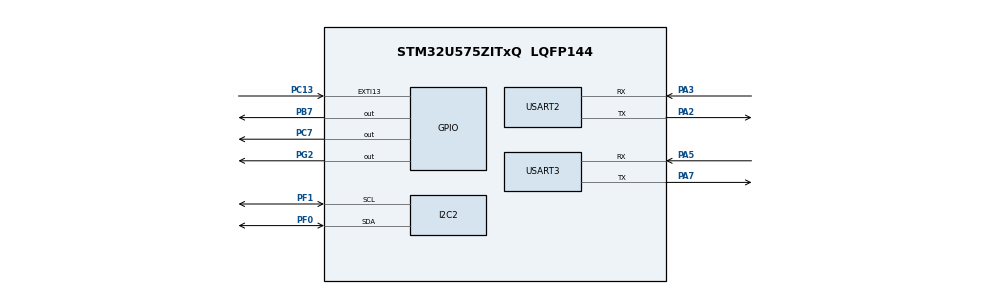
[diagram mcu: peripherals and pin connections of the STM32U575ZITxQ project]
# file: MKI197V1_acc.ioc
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CORTEX_M33_NS.userName=CORTEX_M33
I2C2.Timing=0x00000E14
Mcu.Family=STM32U5
Mcu.Name=STM32U575ZITxQ
Mcu.Package=LQFP144
NUCLEO-U575ZI-Q.BUTTON=1
NUCLEO-U575ZI-Q.LD1=true
NUCLEO-U575ZI-Q.LD2=true
NUCLEO-U575ZI-Q.LD3=true
NUCLEO-U575ZI-Q.VCP=true
NVIC.EXTI13_IRQn=true\:0\:0\:false\:false\:true\:false\:true\:true
NVIC.PriorityGroup=NVIC_PRIORITYGROUP_3
NVIC.TIM17_IRQn=true\:7\:0\:false\:false\:true\:false\:true\:true
NVIC.TimeBase=TIM17_IRQn
NVIC.TimeBaseIP=TIM17
PA10.Signal=USART1_RX
PA13\ (JTMS/SWDIO).Signal=DEBUG_JTMS-SWDIO
PA14\ (JTCK/SWCLK).Signal=DEBUG_JTCK-SWCLK
PA2.Mode=Asynchronous
PA2.Signal=USART2_TX
PA3.Mode=Asynchronous
PA3.Signal=USART2_RX
PA5.Mode=Asynchronous
PA5.Signal=USART3_RX
PA7.Mode=Asynchronous
PA7.Signal=USART3_TX
PA9.Signal=USART1_TX
PB3\ (JTDO/TRACESWO).Signal=DEBUG_JTDO-SWO
PB7.Signal=GPIO_Output
PC13.Signal=GPXTI13
PC14-OSC32_IN\ (PC14).Signal=RCC_OSC32_IN
PC15-OSC32_OUT\ (PC15).Signal=RCC_OSC32_OUT
PC7.Signal=GPIO_Output
PF0.Mode=I2C
PF0.Signal=I2C2_SDA
PF1.Mode=I2C
PF1.Signal=I2C2_SCL
PG2.Signal=GPIO_Output
PWR.PowerMode=PWR_SMPS_SUPPLY
ProjectManager.HeapSize=0x200
ProjectManager.StackSize=0x400
ProjectManager.TargetToolchain=STM32CubeIDE
RCC.ADCFreq_Value=16000000
RCC.DACCLockSelectionVirtual=RCC_DAC1CLKSOURCE_LSI
RCC.EPOD_VALUE=4000000
RCC.HSE_VALUE=16000000
RCC.HSI48_VALUE=48000000
RCC.HSI_VALUE=16000000
RCC.LSE_VALUE=32768
RCC.LSIDIV_VALUE=32000
RCC.MSI_VALUE=4000000
RCC.USBFreq_Value=48000000
RCC.VCOOutputFreq_Value=516000000
USART2.VirtualMode-Asynchronous=VM_ASYNC
USART3.VirtualMode-Asynchronous=VM_ASYNC
VP_ICACHE_VS_ENABLE_ICACHE_MEMORY.Mode=Memoryregions
VP_ICACHE_VS_ICACHE.Mode=DirectMappedCache
VP_LPBAMQUEUE_VS_QUEUE.Mode=QUEUEMODE
VP_LPBAM_VS_SIG1.Mode=SmartRun
VP_LPBAM_VS_SIG4.Mode=LPDMA1
VP_MEMORYMAP_VS_MEMORYMAP.Mode=CurAppReg
VP_NUCLEO-U575ZI-Q_VS_BSP_COMMON.Mode=COMMON
VP_PWR_VS_DBSignals.Mode=DisableDeadBatterySignals
VP_PWR_VS_LPOM.Mode=PowerOptimisation
VP_PWR_VS_SECSignals.Mode=Security/Privilege
VP_SYS_VS_tim17.Mode=TIM17
board=NUCLEO-U575ZI-Q

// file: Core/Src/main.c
/* USER CODE BEGIN Header */
/**
  ******************************************************************************
  * @file           : main.c
  * @brief          : Main program body
  ******************************************************************************
  * @attention
  *
  * Copyright (c) 2025 STMicroelectronics.
  * All rights reserved.
  *
  * This software is licensed under terms that can be found in the LICENSE file
  * in the root directory of this software component.
  * If no LICENSE file comes with this software, it is provided AS-IS.
  *
  ******************************************************************************
  */
/* USER CODE END Header */
#include "main.h"

/* USER CODE BEGIN Includes */
#include "lsm6dsox.h"
#include "pitch_utils.h"
#include "angle.h"
#include "motion_analysis.h"
#include "uart_comm.h"

/* USER CODE END Includes */

COM_InitTypeDef BspCOMInit;

I2C_HandleTypeDef hi2c2;

UART_HandleTypeDef huart2;
UART_HandleTypeDef huart3;

void SystemClock_Config(void);
static void SystemPower_Config(void);
static void MX_GPIO_Init(void);
static void MX_ICACHE_Init(void);
static void MX_I2C2_Init(void);
static void MX_USART2_UART_Init(void);
static void MX_USART3_UART_Init(void);
/* USER CODE BEGIN PFP */
#define DEMCR *((volatile uint32_t*) 0xE000EDFCu)
#define ITM_TCR     (*(volatile uint32_t*)0xE0000E80)
#define ITM_TER     (*(volatile uint32_t*)0xE0000E00)

void Enable_ITM_Trace(void) {
    DEMCR |= (1 << 24);    // TRCENA: enable trace and debug
    ITM_TCR |= 1;          // ITM enable
    ITM_TER |= 1;          // Stimulus port 0 enable
}

/* USER CODE END PFP */

/* USER CODE BEGIN 0 */

void scan_i2c_bus(I2C_HandleTypeDef *hi2c) {
    printf("Scanning I2C bus...\r\n");
    for (uint8_t addr = 0; addr < 128; addr++) {
        if (HAL_I2C_IsDeviceReady(hi2c, addr << 1, 1, 10) == HAL_OK) {
            printf("Found device at 0x%02X\r\n", addr);
        }
    }
}

// für UART Ausgabe
//int _write(int file, char *ptr, int len)
//{
//  for (int i = 0; i < len; i++)
//  {
//    ITM_SendChar((uint32_t)*ptr++);
//  }
//  return len;
//}

/* Debug Exception and Monitor Control Register base address */
/* ITM register addresses */
#define ITM_STIMULUS_PORT0 *((volatile uint32_t*) 0xE0000000u)
#define ITM_TRACE_EN *((volatile uint32_t*) 0xE0000E00u)
/* Send a char through ITM */

/* USER CODE END 0 */

int main(void)
{

  /* MCU Configuration--------------------------------------------------------*/

  /* Reset of all peripherals, Initializes the Flash interface and the Systick. */
  HAL_Init();

  /* Configure the System Power */
  SystemPower_Config();

  /* Configure the system clock */
  SystemClock_Config();

  /* Initialize all configured peripherals */
  MX_GPIO_Init();
  MX_ICACHE_Init();
  MX_I2C2_Init();
  MX_USART2_UART_Init();
  MX_USART3_UART_Init();
  /* USER CODE BEGIN 2 */
  //Enable_ITM_Trace();
  // <--- WICHTIG!

  /* USER CODE END 2 */

  /* Initialize leds */
  BSP_LED_Init(LED_GREEN);
  BSP_LED_Init(LED_BLUE);
  BSP_LED_Init(LED_RED);

  /* Initialize USER push-button, will be used to trigger an interrupt each time it's pressed.*/
  BSP_PB_Init(BUTTON_USER, BUTTON_MODE_EXTI);

  /* Initialize COM1 port (115200, 8 bits (7-bit data + 1 stop bit), no parity */
  BspCOMInit.BaudRate   = 115200;
  BspCOMInit.WordLength = COM_WORDLENGTH_8B;
  BspCOMInit.StopBits   = COM_STOPBITS_1;
  BspCOMInit.Parity     = COM_PARITY_NONE;
  BspCOMInit.HwFlowCtl  = COM_HWCONTROL_NONE;
  if (BSP_COM_Init(COM1, &BspCOMInit) != BSP_ERROR_NONE)
  {
    Error_Handler();
  }

  /* Infinite loop */
  /* USER CODE BEGIN WHILE */

  HAL_Delay(1000);
  float base_pitch = Get_Base_Pitch(&hi2c2);
  printf("Basiswinkel gesetzt (gemittelt): %.2f\r\n", base_pitch);

  LSM6DSOX_Init(&hi2c2);
  while (1)
  {

	    Motion_Process(&hi2c2, base_pitch);
	    UART_Comm_Process(&huart3);
	    HAL_Delay(100);
    /* USER CODE END WHILE */

  }
}

void SystemClock_Config(void)
{
  RCC_OscInitTypeDef RCC_OscInitStruct = {0};
  RCC_ClkInitTypeDef RCC_ClkInitStruct = {0};

  /** Configure the main internal regulator output voltage
  */
  if (HAL_PWREx_ControlVoltageScaling(PWR_REGULATOR_VOLTAGE_SCALE4) != HAL_OK)
  {
    Error_Handler();
  }

  /** Initializes the CPU, AHB and APB buses clocks
  */
  RCC_OscInitStruct.OscillatorType = RCC_OSCILLATORTYPE_MSI;
  RCC_OscInitStruct.MSIState = RCC_MSI_ON;
  RCC_OscInitStruct.MSICalibrationValue = RCC_MSICALIBRATION_DEFAULT;
  RCC_OscInitStruct.MSIClockRange = RCC_MSIRANGE_4;
  RCC_OscInitStruct.PLL.PLLState = RCC_PLL_NONE;
  if (HAL_RCC_OscConfig(&RCC_OscInitStruct) != HAL_OK)
  {
    Error_Handler();
  }

  /** Initializes the CPU, AHB and APB buses clocks
  */
  RCC_ClkInitStruct.ClockType = RCC_CLOCKTYPE_HCLK|RCC_CLOCKTYPE_SYSCLK
                              |RCC_CLOCKTYPE_PCLK1|RCC_CLOCKTYPE_PCLK2
                              |RCC_CLOCKTYPE_PCLK3;
  RCC_ClkInitStruct.SYSCLKSource = RCC_SYSCLKSOURCE_MSI;
  RCC_ClkInitStruct.AHBCLKDivider = RCC_SYSCLK_DIV1;
  RCC_ClkInitStruct.APB1CLKDivider = RCC_HCLK_DIV1;
  RCC_ClkInitStruct.APB2CLKDivider = RCC_HCLK_DIV1;
  RCC_ClkInitStruct.APB3CLKDivider = RCC_HCLK_DIV1;

  if (HAL_RCC_ClockConfig(&RCC_ClkInitStruct, FLASH_LATENCY_0) != HAL_OK)
  {
    Error_Handler();
  }
}

/**
  * @brief Power Configuration
  * @retval None
  */
static void SystemPower_Config(void)
{

  /*
   * Disable the internal Pull-Up in Dead Battery pins of UCPD peripheral
   */
  HAL_PWREx_DisableUCPDDeadBattery();

  /*
   * Switch to SMPS regulator instead of LDO
   */
  if (HAL_PWREx_ConfigSupply(PWR_SMPS_SUPPLY) != HAL_OK)
  {
    Error_Handler();
  }
}

static void MX_I2C2_Init(void)
{

  hi2c2.Instance = I2C2;
  hi2c2.Init.Timing = 0x00000E14;
  hi2c2.Init.OwnAddress1 = 0;
  hi2c2.Init.AddressingMode = I2C_ADDRESSINGMODE_7BIT;
  hi2c2.Init.DualAddressMode = I2C_DUALADDRESS_DISABLE;
  hi2c2.Init.OwnAddress2 = 0;
  hi2c2.Init.OwnAddress2Masks = I2C_OA2_NOMASK;
  hi2c2.Init.GeneralCallMode = I2C_GENERALCALL_DISABLE;
  hi2c2.Init.NoStretchMode = I2C_NOSTRETCH_DISABLE;
  if (HAL_I2C_Init(&hi2c2) != HAL_OK)
  {
    Error_Handler();
  }

  /** Configure Analogue filter
  */
  if (HAL_I2CEx_ConfigAnalogFilter(&hi2c2, I2C_ANALOGFILTER_ENABLE) != HAL_OK)
  {
    Error_Handler();
  }

  /** Configure Digital filter
  */
  if (HAL_I2CEx_ConfigDigitalFilter(&hi2c2, 0) != HAL_OK)
  {
    Error_Handler();
  }

}

static void MX_ICACHE_Init(void)
{

  /** Enable instruction cache in 1-way (direct mapped cache)
  */
  if (HAL_ICACHE_ConfigAssociativityMode(ICACHE_1WAY) != HAL_OK)
  {
    Error_Handler();
  }
  if (HAL_ICACHE_Enable() != HAL_OK)
  {
    Error_Handler();
  }

}

static void MX_USART2_UART_Init(void)
{

  huart2.Instance = USART2;
  huart2.Init.BaudRate = 115200;
  huart2.Init.WordLength = UART_WORDLENGTH_8B;
  huart2.Init.StopBits = UART_STOPBITS_1;
  huart2.Init.Parity = UART_PARITY_NONE;
  huart2.Init.Mode = UART_MODE_TX_RX;
  huart2.Init.HwFlowCtl = UART_HWCONTROL_NONE;
  huart2.Init.OverSampling = UART_OVERSAMPLING_16;
  huart2.Init.OneBitSampling = UART_ONE_BIT_SAMPLE_DISABLE;
  huart2.Init.ClockPrescaler = UART_PRESCALER_DIV1;
  huart2.AdvancedInit.AdvFeatureInit = UART_ADVFEATURE_NO_INIT;
  if (HAL_UART_Init(&huart2) != HAL_OK)
  {
    Error_Handler();
  }
  if (HAL_UARTEx_SetTxFifoThreshold(&huart2, UART_TXFIFO_THRESHOLD_1_8) != HAL_OK)
  {
    Error_Handler();
  }
  if (HAL_UARTEx_SetRxFifoThreshold(&huart2, UART_RXFIFO_THRESHOLD_1_8) != HAL_OK)
  {
    Error_Handler();
  }
  if (HAL_UARTEx_DisableFifoMode(&huart2) != HAL_OK)
  {
    Error_Handler();
  }

}

static void MX_USART3_UART_Init(void)
{

  huart3.Instance = USART3;
  huart3.Init.BaudRate = 115200;
  huart3.Init.WordLength = UART_WORDLENGTH_8B;
  huart3.Init.StopBits = UART_STOPBITS_1;
  huart3.Init.Parity = UART_PARITY_NONE;
  huart3.Init.Mode = UART_MODE_TX_RX;
  huart3.Init.HwFlowCtl = UART_HWCONTROL_NONE;
  huart3.Init.OverSampling = UART_OVERSAMPLING_16;
  huart3.Init.OneBitSampling = UART_ONE_BIT_SAMPLE_DISABLE;
  huart3.Init.ClockPrescaler = UART_PRESCALER_DIV1;
  huart3.AdvancedInit.AdvFeatureInit = UART_ADVFEATURE_NO_INIT;
  if (HAL_UART_Init(&huart3) != HAL_OK)
  {
    Error_Handler();
  }
  if (HAL_UARTEx_SetTxFifoThreshold(&huart3, UART_TXFIFO_THRESHOLD_1_8) != HAL_OK)
  {
    Error_Handler();
  }
  if (HAL_UARTEx_SetRxFifoThreshold(&huart3, UART_RXFIFO_THRESHOLD_1_8) != HAL_OK)
  {
    Error_Handler();
  }
  if (HAL_UARTEx_DisableFifoMode(&huart3) != HAL_OK)
  {
    Error_Handler();
  }

}

static void MX_GPIO_Init(void)
{

  /* GPIO Ports Clock Enable */
  __HAL_RCC_GPIOC_CLK_ENABLE();
  __HAL_RCC_GPIOF_CLK_ENABLE();
  __HAL_RCC_GPIOA_CLK_ENABLE();
  __HAL_RCC_GPIOB_CLK_ENABLE();

}

void HAL_TIM_PeriodElapsedCallback(TIM_HandleTypeDef *htim)
{
  if (htim->Instance == TIM17)
  {
    HAL_IncTick();
  }
}

void Error_Handler(void)
{
  __disable_irq();
  while (1)
  {
  }
}
